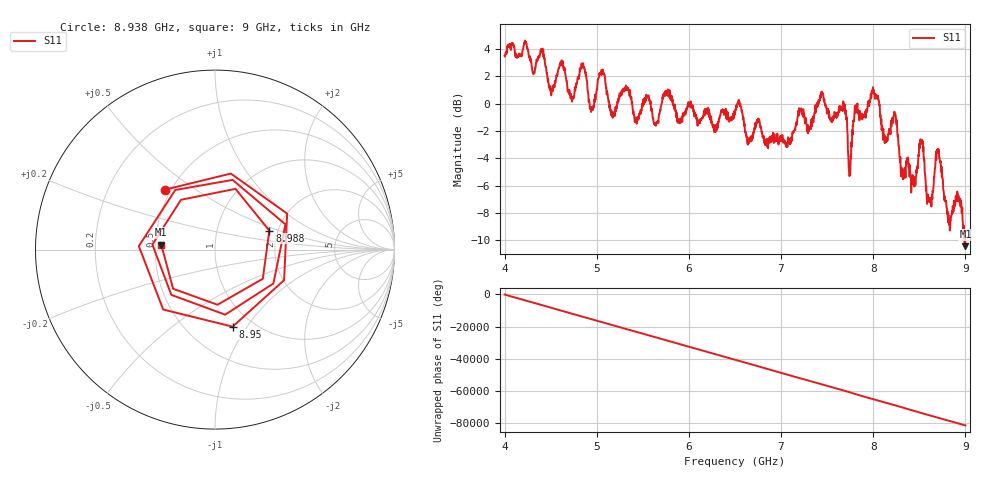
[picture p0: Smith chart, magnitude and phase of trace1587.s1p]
! Created with skrf 1.8.0 (http://scikit-rf.org).
# Hz S RI R 50.0
!freq ReS11 ImS11
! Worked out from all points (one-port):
!   1601 points, 4 GHz to 9 GHz, reference 50 ohm
!   lowest |S11| = -10.4 dB at 9 GHz (marker M1), VSWR 1.86, Z = 26.9 + j1.68 ohm
!   |S11| at or under -10 dB: 8.989528 GHz to 8.996178 GHz (6.65 MHz wide, 0.074 % of centre); 8.997526 GHz to end of sweep
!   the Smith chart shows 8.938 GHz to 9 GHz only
!   S11 on the Smith chart (normalised r, x): 8.938 GHz: 0.46, +0.38; 8.95 GHz: 0.81, -0.86; 8.988 GHz: 1.80, +0.43; 9 GHz: 0.54, +0.03
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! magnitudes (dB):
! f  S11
! 4 GHz  3.5
! 4.409 GHz  3.9
! 4.506 GHz  0.6
! 4.625 GHz  2.8
! 4.731 GHz  0.2
! 4.853 GHz  2.9
! 4.944 GHz  -0.4
! 5.053 GHz  2.5
! 5.162 GHz  -0.7
! 5.25 GHz  0.8
! 5.875 GHz  -1.1
! 6.5 GHz  -0.8
! 7.125 GHz  -2.2
! 7.444 GHz  0.9
! 7.688 GHz  -0.5
! 7.75 GHz  -5.2
! 7.803 GHz  -0.3
! 8.006 GHz  1.0
! 8.375 GHz  -4.0
! 8.438 GHz  -6.0
! 8.522 GHz  -2.7
! 8.609 GHz  -7.2
! 8.703 GHz  -3.5
! 8.819 GHz  -8.4
! 8.938 GHz  -7.2
! 8.95 GHz  -7.1
! 8.988 GHz  -9.9
! 9 GHz  -10.4
